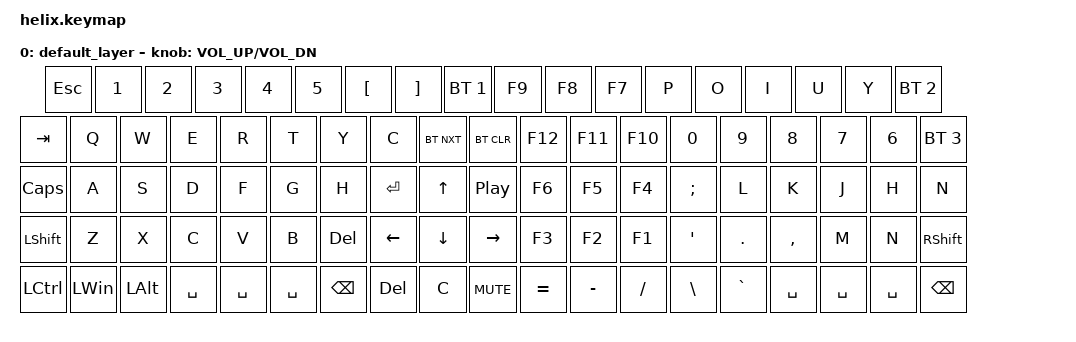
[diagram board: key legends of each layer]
#include <behaviors.dtsi>
#include <dt-bindings/zmk/keys.h>
#include <dt-bindings/zmk/bt.h>


/ {
       keymap {
              compatible = "zmk,keymap";

              default_layer {
                     bindings = <
&kp ESC	&kp N1	&kp N2	&kp N3	&kp N4	&kp N5	&kp LBKT	&kp RBKT	&bt BT_SEL 1		&kp F9	&kp F8	&kp F7	&kp P	&kp O	&kp I	&kp U	&kp Y	&bt BT_SEL 2
&kp TAB	&kp Q	&kp W	&kp E	&kp R	&kp T	&kp Y	&kp C	&bt BT_NXT	&bt BT_CLR	&kp F12	&kp F11	&kp F10	&kp N0	&kp N9	&kp N8	&kp N7	&kp N6	&bt BT_SEL 3
&kp CAPS	&kp A	&kp S	&kp D	&kp F	&kp G	&kp H	&kp ENTER	&kp UP	&kp C_PP	&kp F6	&kp F5	&kp F4	&kp SEMI	&kp L	&kp K	&kp J	&kp H	&kp N
&kp LSHIFT	&kp Z	&kp X	&kp C	&kp V	&kp B	&kp DEL	&kp LEFT	&kp DOWN	&kp RIGHT	&kp F3	&kp F2	&kp F1	&kp APOS	&kp PERIOD	&kp COMMA	&kp M	&kp N	&kp RSHIFT
&kp LCTRL	&kp LWIN	&kp LALT	&kp SPACE	&kp SPACE	&kp SPACE	&kp BACKSPACE	&kp DEL	&kp C	&kp C_MUTE	&kp EQUAL	&kp MINUS	&kp SLASH	&kp BACKSLASH	&kp GRAVE	&kp SPACE	&kp SPACE	&kp SPACE	&kp BACKSPACE
>;
                     sensor-bindings = <&inc_dec_kp C_VOL_UP C_VOL_DN>;
              };
       };
};

